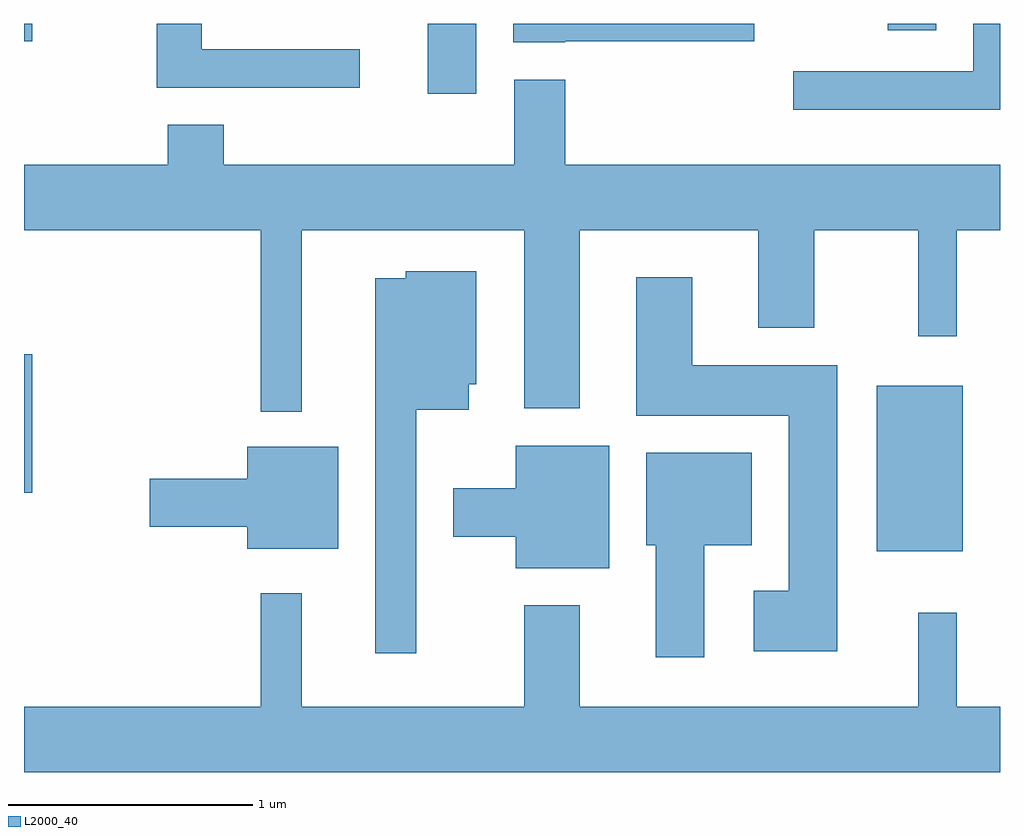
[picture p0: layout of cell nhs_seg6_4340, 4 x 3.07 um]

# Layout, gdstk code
import gdstk
lib = gdstk.Library(unit=1e-6, precision=1e-09)
def R(c, l, rs):  # rectangles x0, y0, x1, y1
    for r in rs: c.add(gdstk.rectangle(r[:2], r[2:], *l))
def P(c, l, *ps):  # polygons
    for p in ps: c.add(gdstk.Polygon(p, *l))
L2000_40 = (2000, 40)

nhs_seg6_4340 = lib.new_cell('nhs_seg6_4340')
R(nhs_seg6_4340, L2000_40, [(321.106,1602.001,321.459,1602.679), (317.611,1602.241,317.644,1602.809), (319.266,1603.876,319.464,1604.162), (317.611,1604.091,317.644,1604.162), (321.151,1604.136,321.349,1604.162)])
P(nhs_seg6_4340, L2000_40, [(321.611,1604.162),(321.501,1604.162),(321.501,1603.969),(320.763,1603.969),(320.763,1603.811),(321.611,1603.811)],
  [(319.83,1604.091),(320.604,1604.091),(320.604,1604.162),(319.616,1604.162),(319.616,1604.086),(319.83,1604.086)],
  [(318.988,1604.059),(318.339,1604.059),(318.339,1604.162),(318.156,1604.162),(318.156,1603.901),(318.988,1603.901)],
  [(318.749,1603.316),(319.661,1603.316),(319.661,1602.586),(319.889,1602.586),(319.889,1603.316),(320.621,1603.316),(320.621,1602.916),(320.849,1602.916),(320.849,1603.316),(321.276,1603.316),(321.276,1602.883),(321.434,1602.883),(321.434,1603.316),(321.611,1603.316),(321.611,1603.584),(319.829,1603.584),(319.829,1603.934),(319.621,1603.934),(319.621,1603.584),(318.429,1603.584),(318.429,1603.749),(318.201,1603.749),(318.201,1603.584),(317.611,1603.584),(317.611,1603.316),(318.581,1603.316),(318.581,1602.573),(318.749,1602.573)],
  [(319.219,1602.581),(319.434,1602.581),(319.434,1602.686),(319.464,1602.686),(319.464,1603.149),(319.176,1603.149),(319.176,1603.119),(319.051,1603.119),(319.051,1601.583),(319.219,1601.583)],
  [(320.944,1602.764),(320.349,1602.764),(320.349,1603.124),(320.121,1603.124),(320.121,1602.556),(320.746,1602.556),(320.746,1601.839),(320.601,1601.839),(320.601,1601.591),(320.944,1601.591)],
  [(320.009,1602.434),(319.626,1602.434),(319.626,1602.259),(319.371,1602.259),(319.371,1602.061),(319.626,1602.061),(319.626,1601.931),(320.009,1601.931)],
  [(318.899,1602.429),(318.526,1602.429),(318.526,1602.299),(318.126,1602.299),(318.126,1602.101),(318.526,1602.101),(318.526,1602.011),(318.899,1602.011)],
  [(320.399,1602.026),(320.594,1602.026),(320.594,1602.404),(320.161,1602.404),(320.161,1602.026),(320.201,1602.026),(320.201,1601.566),(320.399,1601.566)],
  [(321.611,1601.364),(321.434,1601.364),(321.434,1601.748),(321.276,1601.748),(321.276,1601.364),(319.889,1601.364),(319.889,1601.779),(319.661,1601.779),(319.661,1601.364),(318.749,1601.364),(318.749,1601.828),(318.581,1601.828),(318.581,1601.364),(317.611,1601.364),(317.611,1601.096),(321.611,1601.096)])

lib.write_gds('nhs_seg6_4340.gds')
